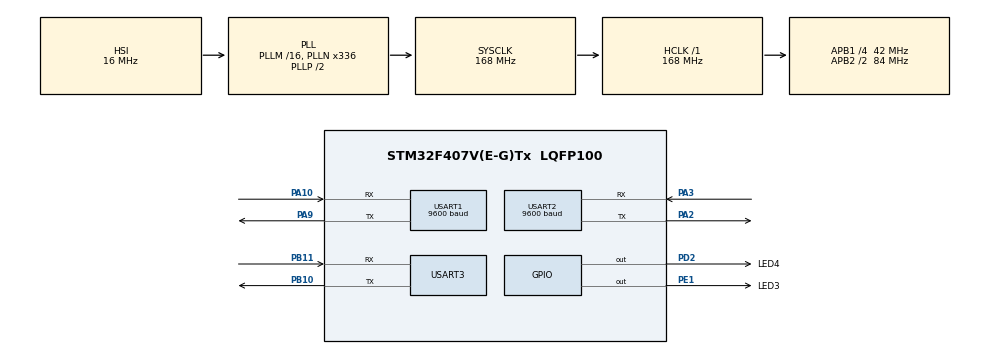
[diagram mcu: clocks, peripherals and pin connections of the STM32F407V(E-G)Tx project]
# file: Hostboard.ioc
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Mcu.Family=STM32F4
Mcu.Name=STM32F407V(E-G)Tx
Mcu.Package=LQFP100
NVIC.PriorityGroup=NVIC_PRIORITYGROUP_4
NVIC.USART1_IRQn=true\:0\:0\:false\:false\:true\:true\:true\:true
NVIC.USART2_IRQn=true\:0\:0\:false\:false\:true\:true\:true\:true
NVIC.USART3_IRQn=true\:0\:0\:false\:false\:true\:true\:true\:true
PA10.Mode=Asynchronous
PA10.Signal=USART1_RX
PA2.Mode=Asynchronous
PA2.Signal=USART2_TX
PA3.Mode=Asynchronous
PA3.Signal=USART2_RX
PA9.Mode=Asynchronous
PA9.Signal=USART1_TX
PB10.Mode=Asynchronous
PB10.Signal=USART3_TX
PB11.Mode=Asynchronous
PB11.Signal=USART3_RX
PD2.GPIO_Label=LED4
PD2.GPIO_PuPd=GPIO_PULLUP
PD2.PinState=GPIO_PIN_SET
PD2.Signal=GPIO_Output
PE1.GPIO_Label=LED3
PE1.GPIO_PuPd=GPIO_PULLUP
PE1.PinState=GPIO_PIN_SET
PE1.Signal=GPIO_Output
ProjectManager.HeapSize=0x200
ProjectManager.StackSize=0x400
ProjectManager.TargetToolchain=CMake
RCC.48MHZClocksFreq_Value=84000000
RCC.AHBFreq_Value=168000000
RCC.APB1CLKDivider=RCC_HCLK_DIV4
RCC.APB1Freq_Value=42000000
RCC.APB1TimFreq_Value=84000000
RCC.APB2CLKDivider=RCC_HCLK_DIV2
RCC.APB2Freq_Value=84000000
RCC.APB2TimFreq_Value=168000000
RCC.CortexFreq_Value=168000000
RCC.HCLKFreq_Value=168000000
RCC.HSE_VALUE=25000000
RCC.HSI_VALUE=16000000
RCC.LSE_VALUE=32768
RCC.PLLN=336
RCC.SYSCLKFreq_VALUE=168000000
RCC.SYSCLKSource=RCC_SYSCLKSOURCE_PLLCLK
RCC.VCOOutputFreq_Value=336000000
USART1.BaudRate=9600
USART1.VirtualMode=VM_ASYNC
USART2.BaudRate=9600
USART2.VirtualMode=VM_ASYNC
USART3.VirtualMode=VM_ASYNC
board=custom

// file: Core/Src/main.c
/* USER CODE BEGIN Header */
/**
  ******************************************************************************
  * @file           : main.c
  * @brief          : Main program body
  ******************************************************************************
  * @attention
  *
  * Copyright (c) 2026 STMicroelectronics.
  * All rights reserved.
  *
  * This software is licensed under terms that can be found in the LICENSE file
  * in the root directory of this software component.
  * If no LICENSE file comes with this software, it is provided AS-IS.
  *
  ******************************************************************************
  */
/* USER CODE END Header */
#include "main.h"
#include "usart.h"
#include "gpio.h"

/* USER CODE BEGIN Includes */
#include "uart1_modbus_master.h"
#include "modbus_master_tasks.h"
#include "modbus_polling.h"
#include "dwin.h"
#include "dwin_tasks.h"
#include "FreeRTOS.h"
#include "task.h"
/* USER CODE END Includes */

/* USER CODE BEGIN PV */

/* 打印机发送队列和 TX 完成信号量 */
QueueHandle_t      xPrinterTxQueue;
SemaphoreHandle_t  xPrinterTxCompleteSem;

/* 迪文屏初始化完成信号量 */
SemaphoreHandle_t  xDwinInitDoneSem;

/* USER CODE END PV */

void SystemClock_Config(void);

int main(void)
{

  /* MCU Configuration--------------------------------------------------------*/

  /* Reset of all peripherals, Initializes the Flash interface and the Systick. */
  HAL_Init();

  /* USER CODE BEGIN Init */
  /* FreeRTOS 要求所有 4 位优先级都用于抢占，无子优先级 */
  HAL_NVIC_SetPriorityGrouping(NVIC_PRIORITYGROUP_4);
  /* USER CODE END Init */

  /* Configure the system clock */
  SystemClock_Config();

  /* Initialize all configured peripherals */
  MX_GPIO_Init();
  MX_USART1_UART_Init();
  MX_USART2_UART_Init();
  MX_USART3_UART_Init();
  /* USER CODE BEGIN 2 */
  /* ---- 初始化 Modbus 主站队列和信号量 ---- */
  ModbusMaster_InitQueues();

  /* ---- 初始化 USART3 迪文屏队列和信号量 ---- */
  Dwin_InitQueues();

  /* ---- 迪文屏初始化完成信号量（Counting，最大 2，初值 0） ---- */
  xDwinInitDoneSem = xSemaphoreCreateCounting(2, 0);

  /* ---- 打印机信号量/队列 ---- */
  xPrinterTxQueue         = xQueueCreate(4, sizeof(printer_job_t));
  xPrinterTxCompleteSem   = xSemaphoreCreateBinary();

  /* ---- 创建 Modbus 发送任务 ---- */
  xTaskCreate(TaskModbusSend, "MstSend", 256, NULL, 2, NULL);

  /* ---- 创建 Modbus 接收任务 ---- */
  xTaskCreate(TaskModbusRecv, "MstRecv", 256, NULL, 2, NULL);

  /* ---- 创建 Modbus 轮询任务（低优先级） ---- */
  xTaskCreate(TaskModbusPoll, "MstPoll", 256, NULL, 1, NULL);

  /* ---- 创建 USART3 迪文屏发送/接收/图标更新任务 ---- */
  xTaskCreate(TaskDwinTx, "DwinTx", 256, NULL, 1, NULL);
  xTaskCreate(TaskDwinRx, "DwinRx", 256, NULL, 1, NULL);
  xTaskCreate(TaskDwinIcons, "DwinIcons", 256, NULL, 1, NULL);

  /* ---- 创建报警监测任务 ---- */
  xTaskCreate(TaskAlarmMonitor, "AlarmMon", 256, NULL, 1, NULL);

  /* ---- 创建打印机发送任务 ---- */
   xTaskCreate(TaskPrinterTx, "PrtTx", 256, NULL, 1, NULL);

  /* ---- 创建迪文屏初始化任务（一次性，完成后自删） ---- */
  xTaskCreate(TaskDwinInit, "DwinInit", 256, NULL, 1, NULL);

  /* ---- 启动 FreeRTOS 调度器 ---- */
  /* 调度器启动后，main 函数不再返回，由任务接管 */
  vTaskStartScheduler();

  /* USER CODE END 2 */

  /* Infinite loop */
  while (1)
  {

  }
}

void SystemClock_Config(void)
{
  RCC_OscInitTypeDef RCC_OscInitStruct = {0};
  RCC_ClkInitTypeDef RCC_ClkInitStruct = {0};

  /** Configure the main internal regulator output voltage
  */
  __HAL_RCC_PWR_CLK_ENABLE();
  __HAL_PWR_VOLTAGESCALING_CONFIG(PWR_REGULATOR_VOLTAGE_SCALE1);

  /** Initializes the RCC Oscillators according to the specified parameters
  * in the RCC_OscInitTypeDef structure.
  */
  RCC_OscInitStruct.OscillatorType = RCC_OSCILLATORTYPE_HSI;
  RCC_OscInitStruct.HSIState = RCC_HSI_ON;
  RCC_OscInitStruct.HSICalibrationValue = RCC_HSICALIBRATION_DEFAULT;
  RCC_OscInitStruct.PLL.PLLState = RCC_PLL_ON;
  RCC_OscInitStruct.PLL.PLLSource = RCC_PLLSOURCE_HSI;
  RCC_OscInitStruct.PLL.PLLM = 16;
  RCC_OscInitStruct.PLL.PLLN = 336;
  RCC_OscInitStruct.PLL.PLLP = RCC_PLLP_DIV2;
  RCC_OscInitStruct.PLL.PLLQ = 4;
  if (HAL_RCC_OscConfig(&RCC_OscInitStruct) != HAL_OK)
  {
    Error_Handler();
  }

  /** Initializes the CPU, AHB and APB buses clocks
  */
  RCC_ClkInitStruct.ClockType = RCC_CLOCKTYPE_HCLK|RCC_CLOCKTYPE_SYSCLK
                              |RCC_CLOCKTYPE_PCLK1|RCC_CLOCKTYPE_PCLK2;
  RCC_ClkInitStruct.SYSCLKSource = RCC_SYSCLKSOURCE_PLLCLK;
  RCC_ClkInitStruct.AHBCLKDivider = RCC_SYSCLK_DIV1;
  RCC_ClkInitStruct.APB1CLKDivider = RCC_HCLK_DIV4;
  RCC_ClkInitStruct.APB2CLKDivider = RCC_HCLK_DIV2;

  if (HAL_RCC_ClockConfig(&RCC_ClkInitStruct, FLASH_LATENCY_5) != HAL_OK)
  {
    Error_Handler();
  }
}

void Error_Handler(void)
{
  __disable_irq();
  while (1)
  {
  }
}
